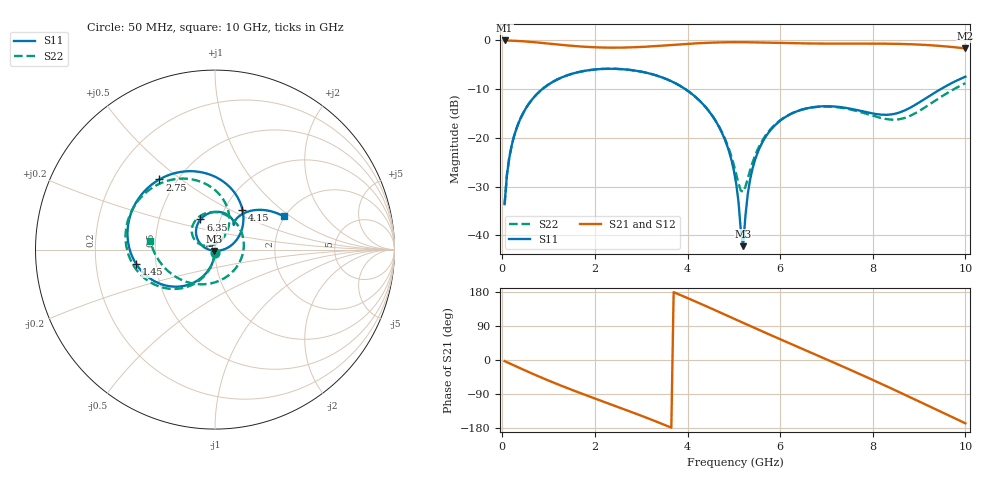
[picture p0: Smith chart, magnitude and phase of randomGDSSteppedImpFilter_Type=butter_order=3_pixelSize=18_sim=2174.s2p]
! freq	dB(S11)	phase(S11)	dB(S12)	phase(S12)
!  dB(S21)	phase(S21)	dB(S22)	phase(S22)
!S-par simulation data
#  GHz  S  DB  R 50
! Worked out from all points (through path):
!   200 points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, 50 MHz to 10 GHz, reference 50 ohm
!   highest |S21| = -0.01 dB at 50 MHz (marker M1); lowest = -1.6 dB at 10 GHz (marker M2)
!   group delay of S21, straight-line fit = 145 ps
!   lowest |S11| = -42.2 dB at 5.2 GHz (marker M3), VSWR 1.02, Z = 49.7 - j0.709 ohm
!   |S11| at or under -10 dB: start of sweep to 863.6 MHz; 3.954 GHz to 9.465 GHz (5.512 GHz wide, 82.1 % of centre)
!   |S22| runs from -33.6 to -5.8 dB; largest |S21 - S12| = 0
!   S11 on the Smith chart (normalised r, x): 50 MHz: 1.00, -0.04; 1.45 GHz: 0.39, -0.08; 2.75 GHz: 0.40, +0.42; 4.15 GHz: 1.21, +0.58; 6.35 GHz: 0.81, +0.28; 10 GHz: 1.97, +0.89
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0.05  -33.60 -92.9  -0.01 -2.9  -0.01 -2.9  -33.61 -92.7
0.1  -27.60 -96.1  -0.02 -5.7  -0.02 -5.7  -27.60 -95.7
0.2  -21.66 -102.1  -0.05 -11.3  -0.05 -11.3  -21.65 -101.4
0.45  -14.92 -116.6  -0.18 -25.2  -0.18 -25.2  -14.92 -115.0
0.95  -9.36 -144.0  -0.60 -51.8  -0.60 -51.8  -9.35 -140.4
1.45  -7.01 -169.6  -1.06 -76.3  -1.06 -76.3  -7.00 -164.0
1.75  -6.29 175.8  -1.28 -90.3  -1.28 -90.3  -6.29 -177.3
2.75  -6.04 128.4  -1.43 -135.4  -1.43 -135.4  -6.04 140.2
3.4  -7.42 96.1  -1.11 -166.1  -1.11 -166.1  -7.42 111.9
4.15  -11.41 55.3  -0.62 155.5  -0.62 155.5  -11.41 78.1
4.75  -19.10 19.1  -0.39 122.9  -0.39 122.9  -18.94 55.8
5.05  -29.35 -6.0  -0.36 106.4  -0.36 106.4  -27.41 66.5
5.2  -42.22 -113.0  -0.37 98.2  -0.37 98.2  -31.08 115.5
5.3  -31.56 -174.0  -0.38 92.7  -0.38 92.7  -28.39 146.6
5.5  -23.35 165.4  -0.41 81.8  -0.41 81.8  -22.68 160.9
5.85  -17.79 143.4  -0.48 62.9  -0.48 62.9  -17.62 152.8
6.35  -14.59 115.8  -0.58 36.2  -0.58 36.2  -14.57 130.4
6.7  -13.71 97.9  -0.63 17.7  -0.63 17.7  -13.74 112.3
7.5  -13.98 64.2  -0.65 -25.1  -0.65 -25.1  -14.14 63.0
8.35  -15.23 53.2  -0.67 -72.2  -0.67 -72.2  -16.21 -16.5
9.1  -12.14 52.7  -0.90 -115.2  -0.90 -115.2  -13.90 -107.0
10  -7.44 25.9  -1.64 -167.0  -1.64 -167.0  -8.78 172.2
